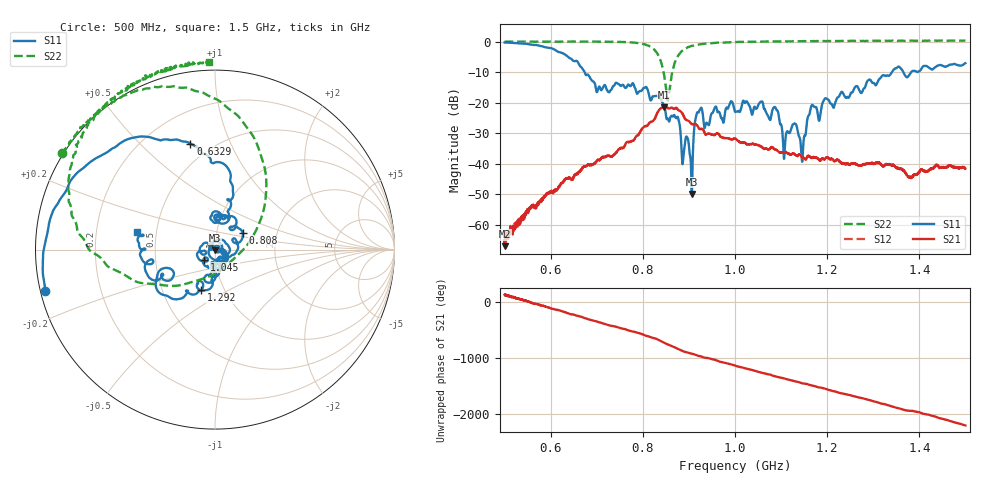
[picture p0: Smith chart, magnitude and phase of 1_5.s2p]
!Keysight Technologies,N5242B,MY48420860,A.13.80.08
!Date: Saturday, September 26, 2020 13:00:34
!Correction: S11(Full 2 Port(1,2))
!S21(Full 2 Port(1,2))
!S12(Full 2 Port(1,2))
!S22(Full 2 Port(1,2))
!S2P File: Measurements: S11, S21, S12, S22:
# Hz S  dB  R 50
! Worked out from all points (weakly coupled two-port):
!   2650 points, 500 MHz to 1.5 GHz, reference 50 ohm
!   highest |S21| = -21.42 dB at 845 MHz (marker M1); lowest = -67.0 dB at 500.8 MHz (marker M2)
!   lowest |S11| = -49.9 dB at 906.2 MHz (marker M3), VSWR 1.01, Z = 50 - j0.317 ohm
!   |S11| at or under -10 dB: 673.8 MHz to 1.34 GHz (666.6 MHz wide, 66.2 % of centre); 1.365 GHz to 1.382 GHz (16.57 MHz wide, 1.21 % of centre)
!   |S22| runs from -19.4 to 0.4 dB; largest |S21 - S12| = 0.00041
!   S11 on the Smith chart (normalised r, x): 500 MHz: 0.01, -0.12; 632.9 MHz: 0.39, +0.72; 808 MHz: 1.34, +0.25; 1.045 GHz: 0.88, -0.10; 1.292 GHz: 0.78, -0.37; 1.5 GHz: 0.39, +0.09
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5e8  -0.23 -166.2  -66.91 123.5  -66.14 123.5  0.05 147.8
5.00755e8  -0.24 -166.6  -67.02 119.8  -65.99 123.3  0.05 147.8
6.328803e8  -4.35 103.1  -45.00 165.7  -44.98 164.9  0.08 136.8
6.668554e8  -8.38 76.2  -41.87 89.3  -41.90 88.6  0.06 133.1
7.02718e8  -15.62 87.0  -38.66 -2.1  -38.72 -2.0  0.06 128.5
8.080408e8  -14.92 30.5  -27.61 109.0  -27.63 108.9  -1.05 96.1
8.337108e8  -17.77 4.7  -22.71 38.9  -22.72 38.9  -4.46 65.4
8.450359e8  -20.45 -22.9  -21.42 -9.6  -21.46 -9.7  -9.96 35.1
8.544734e8  -25.16 -24.7  -21.68 -46.8  -21.70 -46.9  -19.26 -58.0
8.657984e8  -24.47 -33.7  -21.89 -86.0  -21.90 -86.0  -8.78 -147.4
9.06191e8  -49.90 -96.9  -26.92 150.3  -26.95 150.1  -1.31 161.5
9.220461e8  -22.77 26.2  -28.44 108.7  -28.45 108.7  -0.84 153.8
1.000189e9  -22.94 -103.2  -31.75 -61.9  -31.76 -61.9  -0.08 136.1
1.044734e9  -21.79 -136.6  -33.77 -159.4  -33.76 -159.7  0.05 130.3
1.088901e9  -21.97 166.4  -35.35 102.0  -35.41 102.5  0.11 125.8
1.107399e9  -36.56 177.5  -36.23 66.4  -36.27 65.8  0.17 124.1
1.130049e9  -26.82 58.5  -37.02 15.8  -36.99 15.4  0.20 122.1
1.144772e9  -38.10 -39.9  -37.76 -16.4  -37.73 -16.8  0.17 120.7
1.166667e9  -20.81 -40.9  -38.12 -57.6  -38.19 -58.2  0.18 118.7
1.291619e9  -12.40 -108.8  -39.95 41.1  -39.94 40.9  0.32 108.7
1.333522e9  -11.14 -124.8  -40.14 -53.9  -40.20 -54.7  0.37 105.2
1.5e9  -7.01 167.4  -41.62 -53.1  -41.74 -52.3  0.38 91.7
